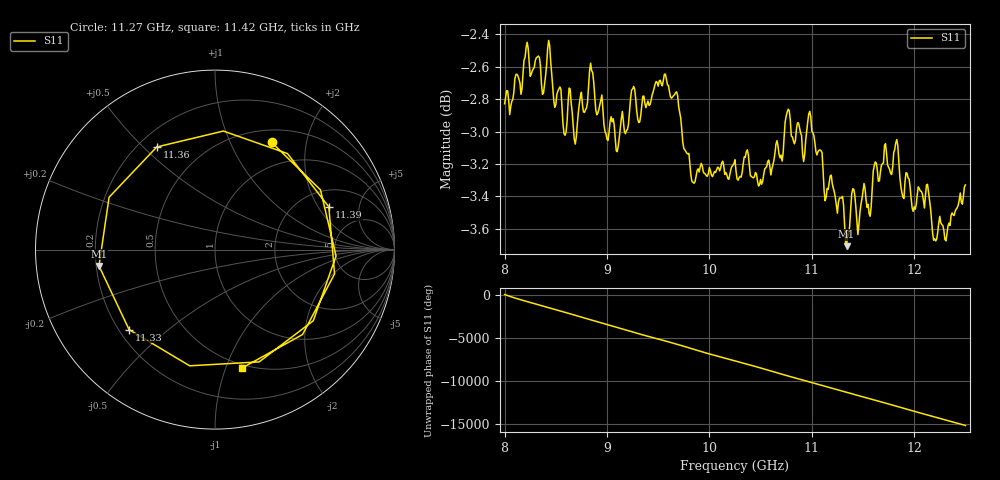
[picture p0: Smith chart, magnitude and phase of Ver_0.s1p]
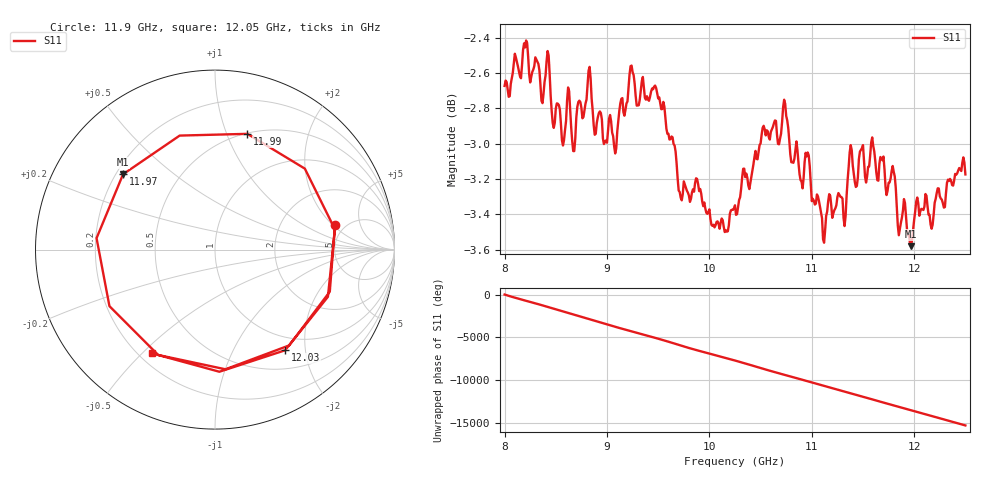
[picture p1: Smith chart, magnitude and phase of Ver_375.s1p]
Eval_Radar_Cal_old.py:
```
from re import match

import numpy as np
import matplotlib.pyplot as plt
import pandas as pd
import os
from scipy import linalg,signal
from scipy.optimize import minimize
import metas_unclib as munc
import skrf as rf
from skrf.media import RectangularWaveguide
from E_Cal import xBand_ECal



def vector_error_magnitude(ref_mean, dut_mean):
    """
    Returns the per-frequency error vector magnitude |ref_mean - dut_mean|.

    Parameters
    ----------
    ref_mean, dut_mean : rf.Network, munc array, or complex array-like
        Mean values of the reference and DUT calibrations.
        Accepts rf.Network (.s[:,0,0]), munc.get_value() output
        (shape (nfreqs,1,1)), or plain 1-D complex arrays.

    Returns
    -------
    numpy.ndarray, shape (nfreqs,)
        Error vector magnitude in dB (20*log10|ref - dut|) at each frequency point.
    """
    def _s11(x):
        if hasattr(x, 's'):
            return x.s[:, 0, 0]
        a = np.asarray(x)
        return a[:, 0, 0] if a.ndim == 3 else a.ravel()

    return 20 * np.log10(np.abs(_s11(ref_mean) - _s11(dut_mean)))


#Initialize waveguide and standards


ref_short = rf.Network('090626/Ver_0.s1p')["8.4-12.5GHz"]#["8.4-12GHz"]


ref_short_l8 = rf.Network('090626/Ver_375.s1p')["8.4-12.5GHz"]
ref_short_l4 = rf.Network('090626/Ver_750.s1p')["8.4-12.5GHz"]
ref_short_3l8 = rf.Network('090626/Ver_1125.s1p')["8.4-12.5GHz"]

meas_short = rf.Network('090626/calkit_l0.s1p')["8.4-12.5GHz"]
meas_short_1 = rf.Network('090626/calkit_l8.s1p')["8.4-12.5GHz"]
meas_short_2 = rf.Network('090626/calkit_l4.s1p')["8.4-12.5GHz"]
meas_short_3 = rf.Network('090626/calkit_3l8.s1p')["8.4-12.5GHz"]


match_std = rf.Network('090626/Match.s1p')["8.4-12.5GHz"]


freq = ref_short.frequency
f = freq.f

WR90 = rf.RectangularWaveguide(freq,a=22.86E-3,z0=50)
WR90_short = rf.Network(s=(-1-0.000000000001j)*np.ones(len(freq)), frequency=freq, z0=50)
rho1 = WR90.line(3.614239, 'mm')**WR90_short
rho2 = WR90.line(7.360389, 'mm')**WR90_short
rho3 = WR90.line(11.338666, 'mm')**WR90_short

rho1_cal = WR90.line(3.79302482, 'mm')**WR90_short
rho2_cal = WR90.line(7.4010261, 'mm')**WR90_short
rho3_cal = WR90.line(11.31874477, 'mm')**WR90_short




cal = xBand_ECal(standard1=meas_short_1.s11, standard2=meas_short_2.s11, standard3=meas_short_3.s11, rho1=rho1_cal, rho2=rho2_cal, rho3=rho3_cal, 
                sigma_NF=(0.000001**2)*np.ones(len(freq)), sigma_NT=(0.000025**2)*np.ones(len(freq)), sigma_L=(0.0012**2)*np.ones(len(freq)),
                sigma_DD=(0.002**2)*np.ones(len(freq)), sigma_DT=(0.0125**2)*np.ones(len(freq)), sigma_DM=(0.025**2)*np.ones(len(freq)),
                sigma_RR=(0.004**2)*np.ones(len(freq)), sigma_RT=(0.0000001**2)*np.ones(len(freq)), sigma_RM=(0.004**2)*np.ones(len(freq)),
                sigma_SR=(0.05**2)*np.ones(len(freq)), find_lengths=False, find_lengths_options="nm",
                enhanced_console_output=True,initial_guess=[3.75, 7.25 , 11.25], ref_standard=meas_short.s11, ref_standard_rho=WR90_short, Waveguide=WR90)


#ref_cal = rf.calibration.OnePort(measured=[ref_short_l8.s11, ref_short_l4.s11, ref_short_3l8.s11], ideals=[rho1, rho2, rho3])

ref_cal = xBand_ECal(standard1=ref_short_l8.s11, standard2=ref_short_l4.s11, standard3=ref_short_3l8.s11, rho1=rho1, rho2=rho2, rho3=rho3, 
                sigma_NF=(0.000001**2)*np.ones(len(freq)), sigma_NT=(0.000025**2)*np.ones(len(freq)), sigma_L=(0.0012**2)*np.ones(len(freq)),
                sigma_DD=(0.002**2)*np.ones(len(freq)), sigma_DT=(0.0125**2)*np.ones(len(freq)), sigma_DM=(0.025**2)*np.ones(len(freq)),
                sigma_RR=(0.004**2)*np.ones(len(freq)), sigma_RT=(0.0000001**2)*np.ones(len(freq)), sigma_RM=(0.004**2)*np.ones(len(freq)),
                sigma_SR=(0.05**2)*np.ones(len(freq)), find_lengths=False, find_lengths_options="nm",
                enhanced_console_output=True,initial_guess=[3.75, 7.5, 11.25], ref_standard=ref_short.s11, ref_standard_rho=WR90_short, Waveguide=WR90)


#run E-Calibration
cal.run()
ref_cal.run()


dut_ref = ref_cal.apply_cal(match_std.s11)
dut = cal.apply_cal(match_std.s11)
'''
#dut = rf.Network(s=munc.get_value(dut), frequency=freq)

ref_up = rf.Network(s=((munc.get_value(dut_ref)) + munc.get_stdunc(dut_ref)), frequency=freq)
ref_lo = rf.Network(s=((munc.get_value(dut_ref)) - munc.get_stdunc(dut_ref)), frequency=freq)

dut_up = rf.Network(s=((munc.get_value(dut)) + munc.get_stdunc(dut)), frequency=freq)
dut_lo = rf.Network(s=((munc.get_value(dut)) - munc.get_stdunc(dut)), frequency=freq)

dut = rf.Network(s=munc.get_value(dut), frequency=freq)

dut_ref = rf.Network(s=munc.get_value(dut_ref), frequency=freq)

plt.figure(figsize=(6, 3))
plt.plot(f, vector_error_magnitude(dut_ref, dut), label='Error Vector Magnitude (dB)')
plt.hlines(-20, f[0], f[-1], colors='red', linestyles='dashed', label='-20 dB Threshold')
plt.xlabel('Frequency (GHz)')
plt.ylabel('Error Vector Magnitude (dB)')
plt.xticks([8.5e9, 9.5e9, 10.5e9, 11.5e9, 12.5e9], ['8.5', '9.5', '10.5', '11.5', '12.5'])
plt.tight_layout()
plt.legend()
plt.grid()
plt.savefig('EVM.svg')
plt.show()



#dut_up.plot_s_smith(label='Calibrated $\sigma$', color='blue')
#dut_lo.plot_s_smith(label='Calibrated $\sigma$', color='blue')

dut.plot_s_db(label='Calibrated Mean', color='green')
#dut_ref.plot_s_smith(label='Reference Mean', color='orange')

ref_up.plot_s_db(label='$\sigma$ Reference', color='red')
ref_lo.plot_s_db(label='$\sigma$ Reference', color='red')
plt.tight_layout()
plt.legend()
plt.savefig('Smith.svg')
plt.show()
'''
plt.figure(figsize=(6, 3))
plt.plot(f,(20*np.log10(np.abs(munc.get_value(dut)))), label='Measured (Auto-Cal-Unit)', color='blue')
#plt.plot(f,(20*np.log10(np.abs(dut_ref.s[:,0,0]))), label='reference')
#plt.fill_between(f,(20*np.log10(np.abs(munc.get_value(dut))-np.abs(munc.get_stdunc(dut)))), (20*np.log10(np.abs(munc.get_value(dut))+np.abs(munc.get_stdunc(dut)))), color='grey', alpha=0.5, label='uncertainty')
plt.fill_between(f,(20*np.log10(np.abs(munc.get_value(dut_ref))-np.abs(munc.get_stdunc(dut_ref)))), (20*np.log10(np.abs(munc.get_value(dut_ref))+np.abs(munc.get_stdunc(dut_ref)))), color='grey', alpha=0.5, label='$\pm\sigma$ Reference')
plt.legend()
plt.xlabel('Frequency (GHz)')
plt.ylabel('Magnitude (dB)')
plt.xticks([8.5e9, 9.5e9, 10.5e9, 11.5e9, 12.5e9], ['8.5', '9.5', '10.5', '11.5', '12.5'])
plt.grid()
plt.tight_layout()
plt.savefig('UNC.svg')
plt.show()
```
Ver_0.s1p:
#  HZ  S  RI  R  50.00
! Rohde & Schwarz Vector Network Analyzer
! Rohde-Schwarz,ZNA43-4Port,1332450044101932,2.92
! Created: UTC 6/9/2026, 6:30:11 AM
! freq[Hz]  re:S11  im:S11
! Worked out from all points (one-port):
!   451 points, 8 GHz to 12.5 GHz, reference 50 ohm
!   lowest |S11| = -3.7 dB at 11.34 GHz (marker M1), VSWR 4.76, Z = 10.6 - j3.36 ohm
!   |S11| at or under -10 dB: nowhere
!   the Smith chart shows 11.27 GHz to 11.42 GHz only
!   S11 on the Smith chart (normalised r, x): 11.27 GHz: 0.66, +1.45; 11.33 GHz: 0.24, -0.37; 11.36 GHz: 0.27, +0.55; 11.39 GHz: 2.84, +2.50; 11.42 GHz: 0.47, -1.14
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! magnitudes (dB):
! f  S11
! 8 GHz  -2.8
! 8.43 GHz  -2.4
! 8.59 GHz  -3.0
! 9.1 GHz  -3.1
! 9.5 GHz  -2.7
! 9.84 GHz  -3.3
! 11 GHz  -3.0
! 11.27 GHz  -3.4
! 11.33 GHz  -3.7
! 11.34 GHz  -3.7
! 11.36 GHz  -3.6
! 11.39 GHz  -3.4
! 11.42 GHz  -3.4
! 12.5 GHz  -3.3
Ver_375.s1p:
#  HZ  S  RI  R  50.00
! Rohde & Schwarz Vector Network Analyzer
! Rohde-Schwarz,ZNA43-4Port,1332450044101932,2.92
! Created: UTC 6/9/2026, 6:30:42 AM
! freq[Hz]  re:S11  im:S11
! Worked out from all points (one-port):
!   451 points, 8 GHz to 12.5 GHz, reference 50 ohm
!   lowest |S11| = -3.6 dB at 11.97 GHz (marker M1), VSWR 4.92, Z = 11.4 + j17 ohm
!   |S11| at or under -10 dB: nowhere
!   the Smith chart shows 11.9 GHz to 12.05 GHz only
!   S11 on the Smith chart (normalised r, x): 11.9 GHz: 4.15, +2.14; 11.97 GHz: 0.23, +0.34; 11.99 GHz: 0.51, +1.19; 12.03 GHz: 0.78, -1.63; 12.05 GHz: 0.25, -0.54
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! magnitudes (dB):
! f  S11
! 8 GHz  -2.7
! 8.42 GHz  -2.5
! 8.67 GHz  -3.0
! 9.5 GHz  -2.7
! 10.04 GHz  -3.5
! 10.73 GHz  -2.8
! 11 GHz  -3.3
! 11.59 GHz  -3.0
! 11.9 GHz  -3.3
! 11.97 GHz  -3.6
! 11.99 GHz  -3.5
! 12.03 GHz  -3.3
! 12.05 GHz  -3.4
! 12.5 GHz  -3.2
